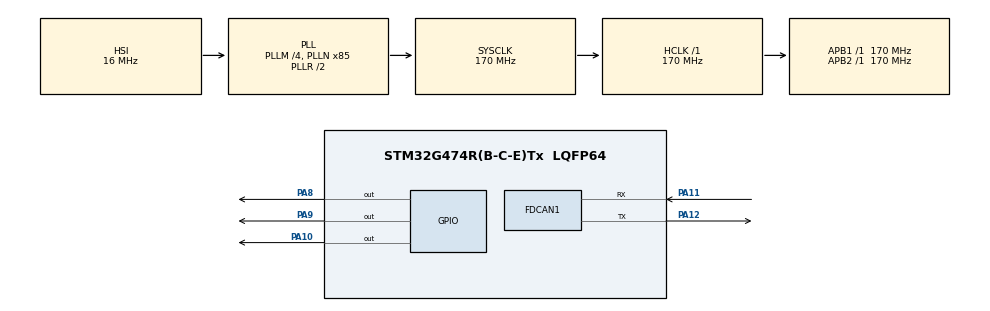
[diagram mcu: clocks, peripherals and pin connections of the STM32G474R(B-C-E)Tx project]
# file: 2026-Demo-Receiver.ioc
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FDCAN1.CalculateBaudRateNominal=3541666
FDCAN1.CalculateTimeBitNominal=282
FDCAN1.CalculateTimeQuantumNominal=94.11764705882354
FDCAN1.StdFiltersNbr=1
Mcu.Family=STM32G4
Mcu.Name=STM32G474R(B-C-E)Tx
Mcu.Package=LQFP64
NUCLEO-G474RE.BUTTON=1
NUCLEO-G474RE.LD2=true
NUCLEO-G474RE.VCP=true
NVIC.EXTI15_10_IRQn=true\:0\:0\:false\:false\:true\:false\:true\:true
NVIC.FDCAN1_IT0_IRQn=true\:0\:0\:false\:false\:true\:true\:true\:true
NVIC.PriorityGroup=NVIC_PRIORITYGROUP_4
PA10.PinState=GPIO_PIN_SET
PA10.Signal=GPIO_Output
PA11.Mode=FDCAN_Activate
PA11.Signal=FDCAN1_RX
PA12.Mode=FDCAN_Activate
PA12.Signal=FDCAN1_TX
PA13.GPIO_Label=T_SWDIO
PA13.Signal=SYS_JTMS-SWDIO
PA14.GPIO_Label=T_SWCLK
PA14.Signal=SYS_JTCK-SWCLK
PA2.Signal=LPUART1_TX
PA3.Signal=LPUART1_RX
PA8.PinState=GPIO_PIN_SET
PA8.Signal=GPIO_Output
PA9.PinState=GPIO_PIN_SET
PA9.Signal=GPIO_Output
PB3.GPIO_Label=T_SWO
PB3.Signal=SYS_JTDO-SWO
PC14-OSC32_IN.GPIO_Label=RCC_OSC32_IN
PC14-OSC32_IN.Signal=RCC_OSC32_IN
PC15-OSC32_OUT.GPIO_Label=RCC_OSC32_OUT
PC15-OSC32_OUT.Signal=RCC_OSC32_OUT
PF0-OSC_IN.GPIO_Label=RCC_OSC_IN
PF0-OSC_IN.Signal=RCC_OSC_IN
PF1-OSC_OUT.GPIO_Label=RCC_OSC_OUT
PF1-OSC_OUT.Signal=RCC_OSC_OUT
ProjectManager.HeapSize=0x200
ProjectManager.StackSize=0x400
ProjectManager.TargetToolchain=CMake
RCC.ADC12Freq_Value=170000000
RCC.ADC345Freq_Value=170000000
RCC.AHBFreq_Value=170000000
RCC.APB1Freq_Value=170000000
RCC.APB1TimFreq_Value=170000000
RCC.APB2Freq_Value=170000000
RCC.APB2TimFreq_Value=170000000
RCC.CortexFreq_Value=170000000
RCC.EXTERNAL_CLOCK_VALUE=12288000
RCC.HCLKFreq_Value=170000000
RCC.HSE_VALUE=24000000
RCC.HSI48_VALUE=48000000
RCC.HSI_VALUE=16000000
RCC.LSE_VALUE=32768
RCC.PLLM=RCC_PLLM_DIV4
RCC.PLLN=85
RCC.RTCClockSelection=RCC_RTCCLKSOURCE_LSE
RCC.SYSCLKFreq_VALUE=170000000
RCC.SYSCLKSource=RCC_SYSCLKSOURCE_PLLCLK
RCC.USBFreq_Value=170000000
RCC.VCOOutputFreq_Value=340000000
VP_NUCLEO-G474RE_VS_BSP_COMMON.Mode=COMMON
VP_SYS_VS_DBSignals.Mode=DisableDeadBatterySignals
board=NUCLEO-G474RE

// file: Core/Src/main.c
/* USER CODE BEGIN Header */
/**
  ******************************************************************************
  * @file           : main.c
  * @brief          : Main program body
  ******************************************************************************
  * @attention
  *
  * Copyright (c) 2026 STMicroelectronics.
  * All rights reserved.
  *
  * This software is licensed under terms that can be found in the LICENSE file
  * in the root directory of this software component.
  * If no LICENSE file comes with this software, it is provided AS-IS.
  *
  ******************************************************************************
  */
/* USER CODE END Header */
#include "main.h"

COM_InitTypeDef BspCOMInit;
FDCAN_HandleTypeDef hfdcan1;

/* USER CODE BEGIN PV */
FDCAN_RxHeaderTypeDef RxHeader;
uint8_t RxData[1]; /* 1-byte payload buffer */
FDCAN_FilterTypeDef sFilterConfig;
/* USER CODE END PV */

void SystemClock_Config(void);
static void MX_GPIO_Init(void);
static void MX_FDCAN1_Init(void);

int main(void)
{

  /* MCU Configuration--------------------------------------------------------*/

  /* Reset of all peripherals, Initializes the Flash interface and the Systick. */
  HAL_Init();

  /* Configure the system clock */
  SystemClock_Config();

  /* Initialize all configured peripherals */
  MX_GPIO_Init();
  MX_FDCAN1_Init();
  /* USER CODE BEGIN 2 */
  sFilterConfig.IdType = FDCAN_STANDARD_ID;
  sFilterConfig.FilterIndex = 0;
  sFilterConfig.FilterType = FDCAN_FILTER_TO_RXFIFO0;  /* Route to FIFO 0 */
  sFilterConfig.FilterConfig = FDCAN_FILTER_TO_RXFIFO0;
  sFilterConfig.FilterID1 = 0x123;                     /* Match the sender's ID */
  sFilterConfig.FilterID2 = 0x000;                     /* Ignored for exact match */

  if (HAL_FDCAN_ConfigFilter(&hfdcan1, &sFilterConfig) != HAL_OK)
  {
      Error_Handler();
  }

  /* 2. Configure Global Filter (Reject everything else) */
  if (HAL_FDCAN_ConfigGlobalFilter(&hfdcan1, FDCAN_REJECT, FDCAN_REJECT, FDCAN_FILTER_REJECT, FDCAN_FILTER_REJECT) != HAL_OK)
  {
      Error_Handler();
  }

  /* 3. Activate RX FIFO 0 new message interrupt */
  if (HAL_FDCAN_ActivateNotification(&hfdcan1, FDCAN_IT_RX_FIFO0_NEW_MESSAGE, 0) != HAL_OK)
  {
      Error_Handler();
  }

  /* 4. Start the FDCAN peripheral */
  if (HAL_FDCAN_Start(&hfdcan1) != HAL_OK)
  {
      Error_Handler();
  }

  /* 5. Initialize LEDs to OFF state (Set all pins HIGH) */
  // HAL_GPIO_WritePin(GPIOA, GPIO_PIN_8 | GPIO_PIN_9 | GPIO_PIN_10, GPIO_PIN_SET);
  /* USER CODE END 2 */

  /* Initialize led */
  BSP_LED_Init(LED_GREEN);

  /* Initialize USER push-button, will be used to trigger an interrupt each time it's pressed.*/
  BSP_PB_Init(BUTTON_USER, BUTTON_MODE_EXTI);

  /* Initialize COM1 port (115200, 8 bits (7-bit data + 1 stop bit), no parity */
  BspCOMInit.BaudRate   = 115200;
  BspCOMInit.WordLength = COM_WORDLENGTH_8B;
  BspCOMInit.StopBits   = COM_STOPBITS_1;
  BspCOMInit.Parity     = COM_PARITY_NONE;
  BspCOMInit.HwFlowCtl  = COM_HWCONTROL_NONE;
  if (BSP_COM_Init(COM1, &BspCOMInit) != BSP_ERROR_NONE)
  {
    Error_Handler();
  }

  /* Infinite loop */
  while (1)
  {

  }
}

void SystemClock_Config(void)
{
  RCC_OscInitTypeDef RCC_OscInitStruct = {0};
  RCC_ClkInitTypeDef RCC_ClkInitStruct = {0};

  /** Configure the main internal regulator output voltage
  */
  HAL_PWREx_ControlVoltageScaling(PWR_REGULATOR_VOLTAGE_SCALE1_BOOST);

  /** Initializes the RCC Oscillators according to the specified parameters
  * in the RCC_OscInitTypeDef structure.
  */
  RCC_OscInitStruct.OscillatorType = RCC_OSCILLATORTYPE_HSI;
  RCC_OscInitStruct.HSIState = RCC_HSI_ON;
  RCC_OscInitStruct.HSICalibrationValue = RCC_HSICALIBRATION_DEFAULT;
  RCC_OscInitStruct.PLL.PLLState = RCC_PLL_ON;
  RCC_OscInitStruct.PLL.PLLSource = RCC_PLLSOURCE_HSI;
  RCC_OscInitStruct.PLL.PLLM = RCC_PLLM_DIV4;
  RCC_OscInitStruct.PLL.PLLN = 85;
  RCC_OscInitStruct.PLL.PLLP = RCC_PLLP_DIV2;
  RCC_OscInitStruct.PLL.PLLQ = RCC_PLLQ_DIV2;
  RCC_OscInitStruct.PLL.PLLR = RCC_PLLR_DIV2;
  if (HAL_RCC_OscConfig(&RCC_OscInitStruct) != HAL_OK)
  {
    Error_Handler();
  }

  /** Initializes the CPU, AHB and APB buses clocks
  */
  RCC_ClkInitStruct.ClockType = RCC_CLOCKTYPE_HCLK|RCC_CLOCKTYPE_SYSCLK
                              |RCC_CLOCKTYPE_PCLK1|RCC_CLOCKTYPE_PCLK2;
  RCC_ClkInitStruct.SYSCLKSource = RCC_SYSCLKSOURCE_PLLCLK;
  RCC_ClkInitStruct.AHBCLKDivider = RCC_SYSCLK_DIV1;
  RCC_ClkInitStruct.APB1CLKDivider = RCC_HCLK_DIV1;
  RCC_ClkInitStruct.APB2CLKDivider = RCC_HCLK_DIV1;

  if (HAL_RCC_ClockConfig(&RCC_ClkInitStruct, FLASH_LATENCY_4) != HAL_OK)
  {
    Error_Handler();
  }
}

static void MX_FDCAN1_Init(void)
{

  hfdcan1.Instance = FDCAN1;
  hfdcan1.Init.ClockDivider = FDCAN_CLOCK_DIV1;
  hfdcan1.Init.FrameFormat = FDCAN_FRAME_CLASSIC;
  hfdcan1.Init.Mode = FDCAN_MODE_NORMAL;
  hfdcan1.Init.AutoRetransmission = DISABLE;
  hfdcan1.Init.TransmitPause = DISABLE;
  hfdcan1.Init.ProtocolException = DISABLE;
  hfdcan1.Init.NominalPrescaler = 16;
  hfdcan1.Init.NominalSyncJumpWidth = 1;
  hfdcan1.Init.NominalTimeSeg1 = 1;
  hfdcan1.Init.NominalTimeSeg2 = 1;
  hfdcan1.Init.DataPrescaler = 1;
  hfdcan1.Init.DataSyncJumpWidth = 1;
  hfdcan1.Init.DataTimeSeg1 = 1;
  hfdcan1.Init.DataTimeSeg2 = 1;
  hfdcan1.Init.StdFiltersNbr = 1;
  hfdcan1.Init.ExtFiltersNbr = 0;
  hfdcan1.Init.TxFifoQueueMode = FDCAN_TX_FIFO_OPERATION;
  if (HAL_FDCAN_Init(&hfdcan1) != HAL_OK)
  {
    Error_Handler();
  }

}

static void MX_GPIO_Init(void)
{
  GPIO_InitTypeDef GPIO_InitStruct = {0};

  /* GPIO Ports Clock Enable */
  __HAL_RCC_GPIOC_CLK_ENABLE();
  __HAL_RCC_GPIOF_CLK_ENABLE();
  __HAL_RCC_GPIOA_CLK_ENABLE();
  __HAL_RCC_GPIOB_CLK_ENABLE();

  /*Configure GPIO pin Output Level */
  HAL_GPIO_WritePin(GPIOA, GPIO_PIN_8|GPIO_PIN_9|GPIO_PIN_10, GPIO_PIN_SET);

  /*Configure GPIO pins : PA8 PA9 PA10 */
  GPIO_InitStruct.Pin = GPIO_PIN_8|GPIO_PIN_9|GPIO_PIN_10;
  GPIO_InitStruct.Mode = GPIO_MODE_OUTPUT_PP;
  GPIO_InitStruct.Pull = GPIO_NOPULL;
  GPIO_InitStruct.Speed = GPIO_SPEED_FREQ_LOW;
  HAL_GPIO_Init(GPIOA, &GPIO_InitStruct);

}

/* USER CODE BEGIN 4 */
/**
  * @brief  Rx FIFO 0 callback.
  * @param  hfdcan pointer to an FDCAN_HandleTypeDef structure that contains
  *         the configuration information for the specified FDCAN.
  * @param  RxFifo0ITs indicates which Rx FIFO 0 interrupts are signaled.
  * @retval None
  */
void HAL_FDCAN_RxFifo0Callback(FDCAN_HandleTypeDef *hfdcan, uint32_t RxFifo0ITs)
{
    if ((RxFifo0ITs & FDCAN_IT_RX_FIFO0_NEW_MESSAGE) != 0)
    {
        /* Retrieve Rx message from RX FIFO 0 */
        if (HAL_FDCAN_GetRxMessage(hfdcan, FDCAN_RX_FIFO0, &RxHeader, RxData) == HAL_OK)
        {
            /* Base State: Turn ALL colors OFF first (Set all HIGH) */
            HAL_GPIO_WritePin(GPIOA, GPIO_PIN_8 | GPIO_PIN_9 | GPIO_PIN_10, GPIO_PIN_SET);

            /* Check received byte and turn the target color ON (Set LOW) */
            switch (RxData[0])
            {
                case 0:
                    /* Red ON (PA10) */
                    HAL_GPIO_WritePin(GPIOA, GPIO_PIN_10, GPIO_PIN_RESET);
                    break;

                case 1:
                    /* Green ON (PA9) */
                    HAL_GPIO_WritePin(GPIOA, GPIO_PIN_9, GPIO_PIN_RESET);
                    break;

                case 2:
                    /* Blue ON (PA8) */
                    HAL_GPIO_WritePin(GPIOA, GPIO_PIN_8, GPIO_PIN_RESET);
                    break;

                default:
                    /* Invalid value received: leave all LEDs off */
                    break;
            }
        }
    }
}
/* USER CODE END 4 */

void Error_Handler(void)
{
  __disable_irq();
  while (1)
  {
  }
}
